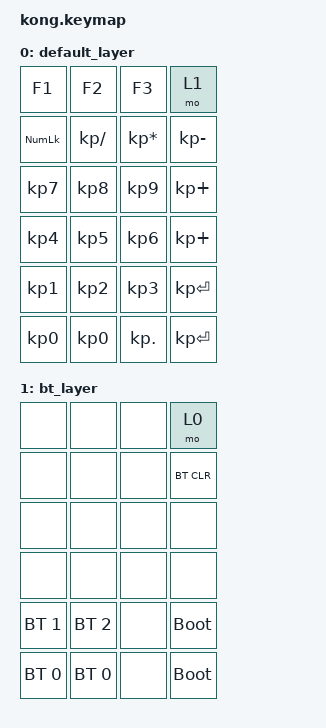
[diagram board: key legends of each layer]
#include <behaviors.dtsi>
#include <dt-bindings/zmk/keys.h>
#include <dt-bindings/zmk/bt.h>

/{
    keymap {
        compatible = "zmk,keymap";

        default_layer {
            bindings = <
				&kp F1			&kp F2			&kp F3			&mo 1
				&kp KP_NUMLOCK	&kp KP_DIVIDE	&kp KP_MULTIPLY	&kp KP_MINUS
				&kp KP_N7		&kp KP_N8		&kp KP_N9		&kp KP_PLUS
				&kp KP_N4		&kp KP_N5		&kp KP_N6		&kp KP_PLUS
				&kp KP_N1		&kp KP_N2		&kp KP_N3		&kp KP_ENTER
                &kp KP_N0		&kp KP_N0		&kp KP_DOT		&kp KP_ENTER
            >;
        };
		
		bt_layer {
			bindings =  <
				&none			&none			&none			&mo 0
				&none			&none			&none			&bt BT_CLR
				&none			&none			&none			&none
				&none			&none			&none			&none
				&bt BT_SEL 1	&bt BT_SEL 2	&none			&bootloader
				&bt BT_SEL 0	&bt BT_SEL 0	&none			&bootloader
			>;
		};
    };
};
